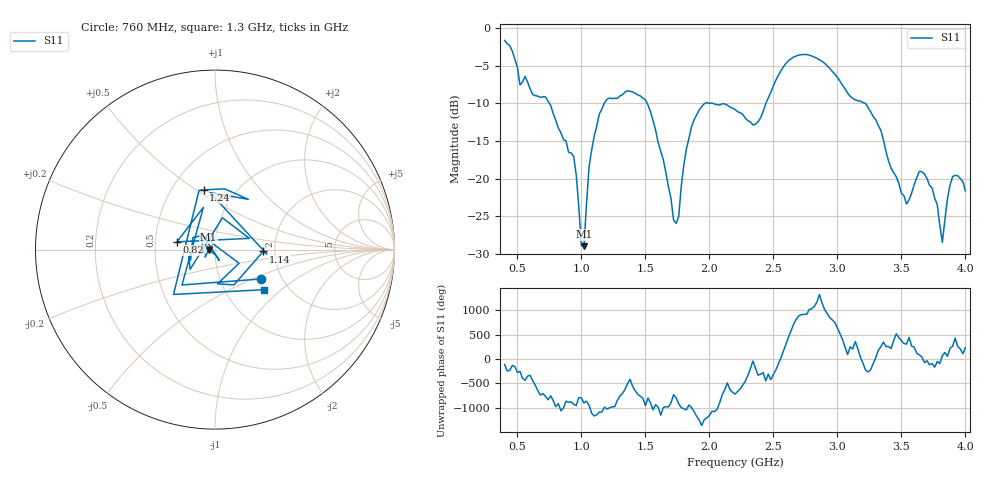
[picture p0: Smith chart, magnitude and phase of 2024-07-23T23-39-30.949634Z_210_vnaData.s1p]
!Created with skrf (http://scikit-rf.org).
# Hz S RI R 50.0
!freq ReS11 ImS11
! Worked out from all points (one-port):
!   181 points, 400 MHz to 4 GHz, reference 50 ohm
!   lowest |S11| = -29.0 dB at 1.02 GHz (marker M1), VSWR 1.07, Z = 46.6 + j0.0184 ohm
!   |S11| at or under -10 dB: 749.3 MHz to 1.178 GHz (429.1 MHz wide, 44.5 % of centre); 1.514 GHz to 1.968 GHz (454.3 MHz wide, 26.1 % of centre); 3.216 GHz to end of sweep (the widest 3 of 5)
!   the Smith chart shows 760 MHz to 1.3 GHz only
!   S11 on the Smith chart (normalised r, x): 760 MHz: 1.57, -0.57; 820 MHz: 0.65, +0.06; 1.14 GHz: 1.73, -0.04; 1.24 GHz: 0.71, +0.54; 1.3 GHz: 1.51, -0.77
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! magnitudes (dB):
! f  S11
! 400 MHz  -1.7
! 520 MHz  -7.5
! 760 MHz  -10.3
! 820 MHz  -13.3
! 860 MHz  -14.8
! 940 MHz  -17.1
! 1 GHz  -28.9
! 1.02 GHz  -29.0
! 1.06 GHz  -18.4
! 1.14 GHz  -11.4
! 1.24 GHz  -9.4
! 1.3 GHz  -9.0
! 1.52 GHz  -10.2
! 1.72 GHz  -25.5
! 1.76 GHz  -25.1
! 1.82 GHz  -16.1
! 1.92 GHz  -10.9
! 2.2 GHz  -10.8
! 2.36 GHz  -12.8
! 2.66 GHz  -3.8
! 3.1 GHz  -9.1
! 3.3 GHz  -12.2
! 3.56 GHz  -22.8
! 3.68 GHz  -19.4
! 3.78 GHz  -23.4
! 3.82 GHz  -28.5
! 3.9 GHz  -19.7
! 4 GHz  -21.6
